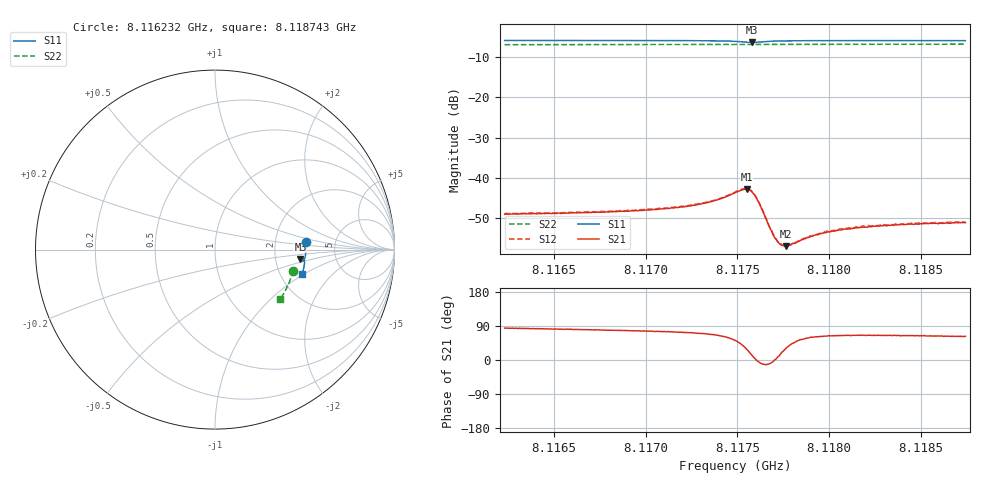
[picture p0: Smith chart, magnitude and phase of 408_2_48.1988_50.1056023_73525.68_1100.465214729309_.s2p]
#  HZ  S  RI  R  50.00
! Rohde & Schwarz Vector Network Analyzer
! Rohde-Schwarz,ZNB20-2Port,1311601062101988,3.16
! Created: UTC 3/20/2024, 11:54:19 AM
! freq[Hz]  re:S11  im:S11  re:S21  im:S21  re:S12  im:S12  re:S22  im:S22
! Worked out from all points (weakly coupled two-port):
!   401 points, 8.116232 GHz to 8.118743 GHz, reference 50 ohm
!   highest |S21| = -42.80 dB at 8.11755 GHz (marker M1); lowest = -57.0 dB at 8.117763 GHz (marker M2)
!   lowest |S11| = -6.4 dB at 8.117581 GHz (marker M3), VSWR 2.84, Z = 139 - j19 ohm
!   |S11| at or under -10 dB: nowhere
!   |S22| runs from -7.0 to -6.8 dB; largest |S21 - S12| = 0.0002
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8.1162316e9  0.5054 0.0411  0.000352 0.00351  0.000414 0.00353  0.4338 -0.1169
8.1166522e9  0.5063 0.00922  0.000623 0.00364  0.000726 0.00369  0.4266 -0.1451
8.1170728e9  0.505 -0.0236  0.00103 0.00395  0.0011 0.00405  0.4171 -0.1729
8.1172109e9  0.5035 -0.035  0.0013 0.00415  0.00139 0.00426  0.4136 -0.1819
8.1173239e9  0.5015 -0.0452  0.00171 0.00454  0.00182 0.00459  0.4106 -0.1895
8.1174118e9  0.4979 -0.0542  0.00247 0.00496  0.00257 0.00499  0.4082 -0.1951
8.1174872e9  0.4905 -0.0617  0.00402 0.00512  0.00411 0.00517  0.4057 -0.2
8.1175248e9  0.4836 -0.0629  0.00542 0.00457  0.00557 0.0046  0.4044 -0.2021
8.1175499e9  0.4784 -0.0603  0.00634 0.00351  0.00648 0.0035  0.4034 -0.2035
8.1175813e9  0.4759 -0.0528  0.00647 0.00133  0.00661 0.00131  0.4025 -0.205
8.1176127e9  0.4808 -0.0464  0.00512 -0.000328  0.00523 -0.000392  0.402 -0.2066
8.1176818e9  0.4934 -0.0496  0.00225 -0.000321  0.00231 -0.000359  0.4007 -0.2111
8.1177069e9  0.4956 -0.0528  0.00176 5.04e-05  0.00178 -2.48e-05  0.4 -0.2128
8.117732e9  0.4971 -0.0559  0.00146 0.000359  0.00152 0.00036  0.3991 -0.2144
8.1177508e9  0.4978 -0.0582  0.00131 0.000578  0.00134 0.000561  0.3987 -0.2156
8.1177634e9  0.4981 -0.0598  0.00123 0.0007  0.00123 0.000735  0.3983 -0.2165
8.1177948e9  0.4985 -0.0632  0.0011 0.001  0.00111 0.00102  0.3972 -0.2185
8.1179078e9  0.4987 -0.0742  0.000935 0.00162  0.000978 0.00161  0.3937 -0.2257
8.1179894e9  0.4979 -0.0813  0.000952 0.00189  0.000999 0.00195  0.391 -0.2308
8.118071e9  0.4969 -0.0881  0.000964 0.00205  0.00104 0.00209  0.3883 -0.2358
8.1183284e9  0.493 -0.108  0.00109 0.00232  0.00113 0.00236  0.3791 -0.2516
8.1187427e9  0.4851 -0.1386  0.00128 0.00246  0.00134 0.0025  0.3632 -0.276
